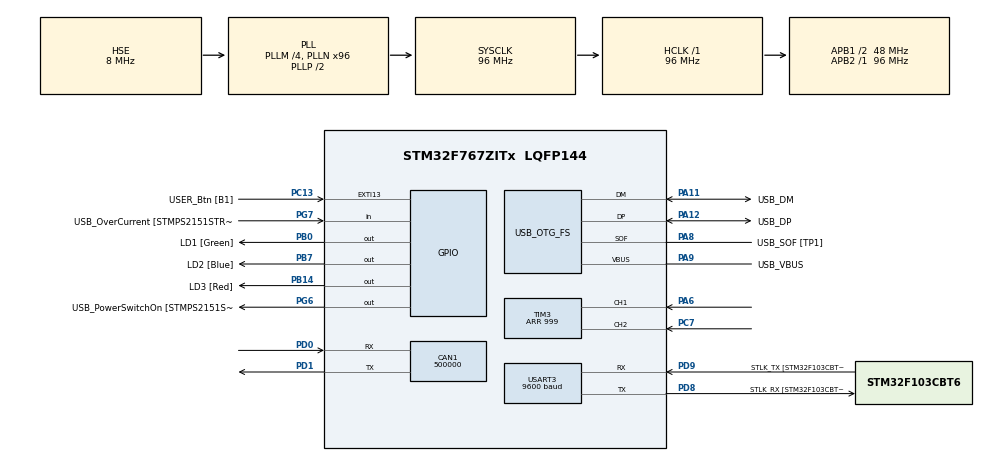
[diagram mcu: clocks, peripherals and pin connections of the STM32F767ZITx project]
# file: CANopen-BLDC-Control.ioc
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CAN1.BS1=CAN_BS1_2TQ
CAN1.BS2=CAN_BS2_3TQ
CAN1.CalculateBaudRate=500000
CAN1.CalculateTimeBit=2000
CAN1.CalculateTimeQuantum=333.3333333333333
CAN1.SJW=CAN_SJW_2TQ
Mcu.Family=STM32F7
Mcu.Name=STM32F767ZITx
Mcu.Package=LQFP144
NVIC.CAN1_RX0_IRQn=true\:0\:0\:false\:false\:true\:true\:true\:true
NVIC.EXTI15_10_IRQn=true\:0\:0\:false\:false\:true\:true\:true\:true
NVIC.PriorityGroup=NVIC_PRIORITYGROUP_4
NVIC.TIM1_TRG_COM_TIM11_IRQn=true\:0\:0\:false\:false\:true\:true\:true\:true
NVIC.TIM1_UP_TIM10_IRQn=true\:0\:0\:false\:false\:true\:true\:true\:true
NVIC.TIM3_IRQn=true\:0\:0\:false\:false\:true\:true\:true\:true
NVIC.TIM6_DAC_IRQn=true\:0\:0\:false\:false\:true\:true\:true\:true
NVIC.TIM7_IRQn=true\:0\:0\:false\:false\:true\:true\:true\:true
NVIC.TIM8_TRG_COM_TIM14_IRQn=true\:0\:0\:false\:false\:true\:true\:true\:true
NVIC.USART3_IRQn=true\:0\:0\:false\:false\:true\:true\:true\:true
PA1.GPIO_Label=RMII_REF_CLK [LAN8742A-CZ-TR_REFCLK0]
PA1.Signal=ETH_REF_CLK
PA10.GPIO_Label=USB_ID
PA10.Signal=USB_OTG_FS_ID
PA11.GPIO_Label=USB_DM
PA11.Mode=Device_Only
PA11.Signal=USB_OTG_FS_DM
PA12.GPIO_Label=USB_DP
PA12.Mode=Device_Only
PA12.Signal=USB_OTG_FS_DP
PA13.GPIO_Label=TMS
PA13.Mode=Serial_Wire
PA13.Signal=SYS_JTMS-SWDIO
PA14.GPIO_Label=TCK
PA14.Mode=Serial_Wire
PA14.Signal=SYS_JTCK-SWCLK
PA2.GPIO_Label=RMII_MDIO [LAN8742A-CZ-TR_MDIO]
PA2.Signal=ETH_MDIO
PA6.Signal=S_TIM3_CH1
PA7.GPIO_Label=RMII_CRS_DV [LAN8742A-CZ-TR_CRS_DV]
PA7.Signal=ETH_CRS_DV
PA8.GPIO_Label=USB_SOF [TP1]
PA8.Mode=Activate_SOF_FS
PA8.Signal=USB_OTG_FS_SOF
PA9.GPIO_Label=USB_VBUS
PA9.Mode=Activate_VBUS
PA9.Signal=USB_OTG_FS_VBUS
PB0.GPIO_Label=LD1 [Green]
PB0.Signal=GPIO_Output
PB13.GPIO_Label=RMII_TXD1 [LAN8742A-CZ-TR_TXD1]
PB13.Signal=ETH_TXD1
PB14.GPIO_Label=LD3 [Red]
PB14.Signal=GPIO_Output
PB3.GPIO_Label=SWO
PB3.Signal=SYS_JTDO-SWO
PB7.GPIO_Label=LD2 [Blue]
PB7.Signal=GPIO_Output
PC1.GPIO_Label=RMII_MDC [LAN8742A-CZ-TR_MDC]
PC1.Signal=ETH_MDC
PC13.GPIO_Label=USER_Btn [B1]
PC13.Signal=GPXTI13
PC14/OSC32_IN.Mode=LSE-External-Oscillator
PC14/OSC32_IN.Signal=RCC_OSC32_IN
PC15/OSC32_OUT.Mode=LSE-External-Oscillator
PC15/OSC32_OUT.Signal=RCC_OSC32_OUT
PC4.GPIO_Label=RMII_RXD0 [LAN8742A-CZ-TR_RXD0]
PC4.Signal=ETH_RXD0
PC5.GPIO_Label=RMII_RXD1 [LAN8742A-CZ-TR_RXD1]
PC5.Signal=ETH_RXD1
PC7.Signal=S_TIM3_CH2
PD0.Mode=CAN_Activate
PD0.Signal=CAN1_RX
PD1.Mode=CAN_Activate
PD1.Signal=CAN1_TX
PD8.GPIO_Label=STLK_RX [STM32F103CBT6_PA3]
PD8.Mode=Asynchronous
PD8.Signal=USART3_TX
PD9.GPIO_Label=STLK_TX [STM32F103CBT6_PA2]
PD9.Mode=Asynchronous
PD9.Signal=USART3_RX
PG11.GPIO_Label=RMII_TX_EN [LAN8742A-CZ-TR_TXEN]
PG11.Signal=ETH_TX_EN
PG13.GPIO_Label=RMII_TXD0 [LAN8742A-CZ-TR_TXD0]
PG13.Signal=ETH_TXD0
PG6.GPIO_Label=USB_PowerSwitchOn [STMPS2151STR_EN]
PG6.Signal=GPIO_Output
PG7.GPIO_Label=USB_OverCurrent [STMPS2151STR_FAULT]
PG7.Signal=GPIO_Input
PH0/OSC_IN.GPIO_Label=MCO [STM32F103CBT6_PA8]
PH0/OSC_IN.Mode=HSE-External-Clock-Source
PH0/OSC_IN.Signal=RCC_OSC_IN
PH1/OSC_OUT.Mode=HSE-External-Clock-Source
PH1/OSC_OUT.Signal=RCC_OSC_OUT
ProjectManager.HeapSize=0x200
ProjectManager.StackSize=0x400
ProjectManager.TargetToolchain=STM32CubeIDE
RCC.48MHZClocksFreq_Value=24000000
RCC.AHBFreq_Value=96000000
RCC.APB1CLKDivider=RCC_HCLK_DIV2
RCC.APB1Freq_Value=48000000
RCC.APB1TimFreq_Value=96000000
RCC.APB2Freq_Value=96000000
RCC.APB2TimFreq_Value=96000000
RCC.CortexFreq_Value=96000000
RCC.HCLKFreq_Value=96000000
RCC.HSE_VALUE=8000000
RCC.HSI_VALUE=16000000
RCC.PLLM=4
RCC.PLLMUL=RCC_PLL_MUL9
RCC.PLLN=96
RCC.PLLQ=4
RCC.PRESCALERUSB=RCC_USBCLKSOURCE_PLL_DIV1_5
RCC.SYSCLKFreq_VALUE=96000000
RCC.SYSCLKSource=RCC_SYSCLKSOURCE_PLLCLK
RCC.SYSCLKSourceVirtual=RCC_SYSCLKSOURCE_PLLCLK
RCC.USBFreq_Value=48000000
RCC.VCOOutputFreq_Value=192000000
SH.S_TIM3_CH1.0=TIM3_CH1,Encoder_Interface
SH.S_TIM3_CH2.0=TIM3_CH2,Encoder_Interface
TIM10.Period=5000-1
TIM10.Prescaler=9600-1
TIM11.AutoReloadPreload=TIM_AUTORELOAD_PRELOAD_ENABLE
TIM11.Period=2000-1
TIM11.Prescaler=9600-1
TIM14.AutoReloadPreload=TIM_AUTORELOAD_PRELOAD_ENABLE
TIM14.Period=4999
TIM14.Prescaler=9599
TIM3.EncoderMode=TIM_ENCODERMODE_TI1
TIM3.Period=999
TIM6.AutoReloadPreload=TIM_AUTORELOAD_PRELOAD_ENABLE
TIM6.Period=4999
TIM6.Prescaler=9599
TIM7.AutoReloadPreload=TIM_AUTORELOAD_PRELOAD_ENABLE
TIM7.Period=5000-1
TIM7.Prescaler=9600-1
USART3.BaudRate=9600
USART3.VirtualMode-Asynchronous=VM_ASYNC
USB_OTG_FS.VirtualMode=Device_Only
VP_TIM10_VS_ClockSourceINT.Mode=Enable_Timer
VP_TIM11_VS_ClockSourceINT.Mode=Enable_Timer
VP_TIM14_VS_ClockSourceINT.Mode=Enable_Timer
VP_TIM6_VS_ClockSourceINT.Mode=Enable_Timer
VP_TIM7_VS_ClockSourceINT.Mode=Enable_Timer
board=NUCLEO-F767ZI

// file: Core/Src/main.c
/* USER CODE BEGIN Header */
/**
 ******************************************************************************
 * @file           : main.c
 * @brief          : Main program body
 ******************************************************************************
 * @attention
 *
 * <h2><center>&copy; Copyright (c) 2022 STMicroelectronics.
 * All rights reserved.</center></h2>
 *
 * This software component is licensed by ST under BSD 3-Clause license,
 * the "License"; You may not use this file except in compliance with the
 * License. You may obtain a copy of the License at:
 *                        opensource.org/licenses/BSD-3-Clause
 *
 ******************************************************************************
 */
/* USER CODE END Header */
#include "main.h"
#include "can.h"
#include "tim.h"
#include "usart.h"
#include "usb_otg.h"
#include "gpio.h"

/* USER CODE BEGIN Includes */
#include "stdio.h"
#include "string.h"
#include "stdlib.h"

/* USER CODE END Includes */

/* USER CODE BEGIN PV */

//UART VARIABLES
const uint8_t sInitCommand[] = "INIT";
uint8_t sUserMessage[4];
const uint8_t sErrorMessage[] = "UART ERROR\r\n";
int length;
uint8_t data_msg[16];

//INCOMING DATA
const uint8_t sSerialStart[] = "STSE";
const uint8_t sGeneralStop[] = "HALT";
const uint8_t sReset[] = "RSET";
const uint8_t sContinue[] = "CONT";

//OUTGOING DATA
const uint8_t sInitState[] = "inig \r\n";
const uint8_t sWorkState[] = "work \r\n";
const uint8_t sReadyState[] = "redy \r\n";
const uint8_t sStopState[] = "stop \r\n";
int iLengthOut = strlen(sInitState);

//MODE SELECTION
const uint8_t sSingle_mode[] = "SNGL";
const uint8_t sSerial_mode[] = "SERL";

//LEG SELECTION
const uint8_t sRight[] = "RGHT";
const uint8_t sLeft[] = "LEFT";

//SPEED SELECTION
const uint8_t sFast[] = "FAST";
const uint8_t sSlow[] = "SLOW";

//MINMAX VALUES
const uint32_t iMax_angle = 90;
const uint32_t iMin_angle = 0;

//STATE VALUES
volatile uint8_t iFlag = 0;
volatile uint8_t iMode = 100; // default:100, 0 - SINGLE MOTION MODE, 1 - SERIAL MOTION MODE
volatile uint8_t iSelected_leg = 100; // default:100, 0 - LEFT LEG, 1 - RIGHT LEG

//CAN VARIABLES
CAN_TxHeaderTypeDef TxHeader;
uint8_t TxData[8];
uint32_t TxMailbox;

CAN_RxHeaderTypeDef RxHeader;
uint8_t RxData[8];

CAN_FilterTypeDef CANFilter;

//STATE MACHINE VARIABLES
uint8_t iMachineStatus = 100;
uint8_t iHomingStatus = 100;
uint8_t iSingleMachineStatus = 100;
uint8_t iSerialMachineStatus = 100;

//ENCODER VARIABLES
uint16_t iEncCountReal=0;
uint16_t iEncCount=0;
const uint16_t iEncCountsNumber = 1000;
float fEncAngle=0;
float fEncDegPerCount = 0.36; //counts per rotation = 40 -> 360 degrees / 40 counts = 9 deg/count
float fEncAngleTemp = 0;

//MOVE ABSOLUTE VARIABLES
uint32_t iPosition;
uint32_t iVelocity;

//SERIAL MODE VARIABLES
uint8_t iSerialCounter = 100;
uint32_t iSerialRange = 100;
uint8_t iSerialReps = 100;

/* USER CODE END PV */

void SystemClock_Config(void);
/* USER CODE BEGIN PFP */

//ERROR SIGNALIZATION
void fnLEDsErrorState(){
	HAL_GPIO_WritePin(LD1_GPIO_Port, LD1_Pin, GPIO_PIN_SET);
	HAL_GPIO_WritePin(LD2_GPIO_Port, LD2_Pin, GPIO_PIN_SET);
	HAL_GPIO_WritePin(LD3_GPIO_Port, LD3_Pin, GPIO_PIN_SET);
}

//INIT FUNCTION
void fnInit(){

	switch(iMachineStatus){

	case 0: //RESET PDO
		TxHeader.StdId = 0x000;
		TxHeader.DLC = 2;
		TxData[0] = 0x82;
		TxData[1] = 0x0A;

		if(HAL_CAN_AddTxMessage(&hcan1, &TxHeader, TxData, &TxMailbox) != HAL_OK){
			fnLEDsErrorState();
			Error_Handler();
		}
		else{
			iMachineStatus = 5;
			//SEND INFO THAT ENGINE IS INITIALIZING
			HAL_UART_Transmit(&huart3, sInitState, iLengthOut, 100);
		}
		break;

	case 5: //SET PDO
		TxHeader.StdId = 0x000;
		TxHeader.DLC = 2;
		TxData[0] = 0x01;
		TxData[1] = 0x0A;

		if(HAL_CAN_AddTxMessage(&hcan1, &TxHeader, TxData, &TxMailbox) != HAL_OK){
			fnLEDsErrorState();
			Error_Handler();
		}
		else{
			iMachineStatus = 10;
		}
		break;

	case 10: //SHUTDOWN
		TxHeader.StdId = 0x60A;
		TxHeader.DLC = 8;
		TxData[0] = 0x22;
		TxData[1] = 0x40;
		TxData[2] = 0x60;
		TxData[3] = 0x00;
		TxData[4] = 0x06;
		TxData[5] = 0x00;
		TxData[6] = 0x00;
		TxData[7] = 0x00;

		//RESET ALL VARIABLES TO INITIAL CONDITIONS
		iMode = 100;
		iSelected_leg = 100;

		iSerialMachineStatus = 100;
		iSerialRange = 0;
		iSerialReps = 0;

		iSingleMachineStatus = 100;
		iPosition = 0;

		if(HAL_CAN_AddTxMessage(&hcan1, &TxHeader, TxData, &TxMailbox) != HAL_OK){
			fnLEDsErrorState();
			Error_Handler();
		}
		else{
			iMachineStatus = 20;
		}
		break;

	case 20://SWITCH ON
		TxHeader.StdId = 0x60A;
		TxHeader.DLC = 8;
		TxData[0] = 0x22;
		TxData[1] = 0x40;
		TxData[2] = 0x60;
		TxData[3] = 0x00;
		TxData[4] = 0x07;
		TxData[5] = 0x00;
		TxData[6] = 0x00;
		TxData[7] = 0x00;

		if(HAL_CAN_AddTxMessage(&hcan1, &TxHeader, TxData, &TxMailbox) != HAL_OK){
			fnLEDsErrorState();
			Error_Handler();
		}
		else{
			iMachineStatus = 25;
		}
		break;

	case 25://ENABLE OPERATION
		TxHeader.StdId = 0x60A;
		TxHeader.DLC = 8;
		TxData[0] = 0x22;
		TxData[1] = 0x40;
		TxData[2] = 0x60;
		TxData[3] = 0x00;
		TxData[4] = 0x0F;
		TxData[5] = 0x00;
		TxData[6] = 0x00;
		TxData[7] = 0x00;

		if(HAL_CAN_AddTxMessage(&hcan1, &TxHeader, TxData, &TxMailbox) != HAL_OK){
			fnLEDsErrorState();
			Error_Handler();
		}
		else{
			iMachineStatus = 30;
		}
		break;

	case 30://POSITION MODE
		TxHeader.StdId = 0x60A;
		TxHeader.DLC = 8;
		TxData[0] = 0x22;
		TxData[1] = 0x60;
		TxData[2] = 0x60;
		TxData[3] = 0x00;
		TxData[4] = 0x01;
		TxData[5] = 0x00;
		TxData[6] = 0x00;
		TxData[7] = 0x00;

		if(HAL_CAN_AddTxMessage(&hcan1, &TxHeader, TxData, &TxMailbox) != HAL_OK){
			fnLEDsErrorState();
			Error_Handler();
		}
		else{
			iMachineStatus = 40;
		}
		break;

	case 40:// POSITION 0
		TxHeader.StdId = 0x60A;
		TxHeader.DLC = 8;

		TxData[0] = 0x22;
		TxData[1] = 0x7A;
		TxData[2] = 0x60;
		TxData[3] = 0x00;
		TxData[4] = 0x00;
		TxData[5] = 0x00;
		TxData[6] = 0x00;
		TxData[7] = 0x00;

		if(HAL_CAN_AddTxMessage(&hcan1, &TxHeader, TxData, &TxMailbox) != HAL_OK){
			fnLEDsErrorState();
			Error_Handler();
		}
		else{
			iMachineStatus = 50;
		}
		break;

	case 50://START SUPPLY
		TxHeader.StdId = 0x60A;
		TxHeader.DLC = 8;
		TxData[0] = 0x22;
		TxData[1] = 0x40;
		TxData[2] = 0x60;
		TxData[3] = 0x00;
		TxData[4] = 0x1F;
		TxData[5] = 0x00;
		TxData[6] = 0x00;
		TxData[7] = 0x00;

		if(HAL_CAN_AddTxMessage(&hcan1, &TxHeader, TxData, &TxMailbox) != HAL_OK){
			fnLEDsErrorState();
			Error_Handler();
		}
		else{
			iMachineStatus = 55;
		}
		break;

	case 55://SET POINT ACK CHECK
		TxHeader.StdId = 0x60A;
		TxHeader.DLC = 8;
		TxData[0] = 0x40;
		TxData[1] = 0x41;
		TxData[2] = 0x60;
		TxData[3] = 0x00;
		TxData[4] = 0x00;
		TxData[5] = 0x00;
		TxData[6] = 0x00;
		TxData[7] = 0x00;

		if(HAL_CAN_AddTxMessage(&hcan1, &TxHeader, TxData, &TxMailbox) != HAL_OK){
			fnLEDsErrorState();
			Error_Handler();
		}
		else if (RxData[5] & 0b10000) {
			iMachineStatus = 60;
		}
		break;

	case 60://STOP SUPPLY
		TxHeader.StdId = 0x60A;
		TxHeader.DLC = 8;
		TxData[0] = 0x22;
		TxData[1] = 0x40;
		TxData[2] = 0x60;
		TxData[3] = 0x00;
		TxData[4] = 0x0F;
		TxData[5] = 0x00;
		TxData[6] = 0x00;
		TxData[7] = 0x00;

		if(HAL_CAN_AddTxMessage(&hcan1, &TxHeader, TxData, &TxMailbox) != HAL_OK){
			fnLEDsErrorState();
			Error_Handler();
		}
		else{
			iMachineStatus = 70;
		}
		break;

	case 70://TARGET REACHED CHECK
		TxHeader.StdId = 0x60A;
		TxHeader.DLC = 8;
		TxData[0] = 0x40;
		TxData[1] = 0x41;
		TxData[2] = 0x60;
		TxData[3] = 0x00;
		TxData[4] = 0x00;
		TxData[5] = 0x00;
		TxData[6] = 0x00;
		TxData[7] = 0x00;

		if(HAL_CAN_AddTxMessage(&hcan1, &TxHeader, TxData, &TxMailbox) != HAL_OK){
			fnLEDsErrorState();
			Error_Handler();
		}
		else if (RxData[5] & 0b00100) {
			iMachineStatus = 80;
			//SEND INFO THAT ENGINE IS READY
			HAL_UART_Transmit(&huart3, sReadyState, iLengthOut, 100);
		}
		break;

	case 80://READ STATUS CHECK
		if (RxData[4] == 39) {
			iMachineStatus = 1;
			iHomingStatus = 1;

			// ENCODER TIMER START
			HAL_TIM_Encoder_Start(&htim3,TIM_CHANNEL_ALL);
			fnEncCalibration();

			//SEND ENCODER VALUE AFTER INIT
			length = sprintf(data_msg, "e%.3f \r\n", fEncAngle);
			HAL_UART_Transmit(&huart3, data_msg, length, 0xffff);

		}
		else {
			fnLEDsErrorState();
			Error_Handler();
		}

		break;
	}
}

void fnReset(){
	switch(iMachineStatus){

	case 10: //SHUTDOWN
		TxHeader.StdId = 0x60A;
		TxHeader.DLC = 8;
		TxData[0] = 0x22;
		TxData[1] = 0x40;
		TxData[2] = 0x60;
		TxData[3] = 0x00;
		TxData[4] = 0x06;
		TxData[5] = 0x00;
		TxData[6] = 0x00;
		TxData[7] = 0x00;

		if(HAL_CAN_AddTxMessage(&hcan1, &TxHeader, TxData, &TxMailbox) != HAL_OK){
			fnLEDsErrorState();
			Error_Handler();
		}
		else{
			iMachineStatus = 20;
		}
		break;

	case 20://SWITCH ON
		TxHeader.StdId = 0x60A;
		TxHeader.DLC = 8;
		TxData[0] = 0x22;
		TxData[1] = 0x40;
		TxData[2] = 0x60;
		TxData[3] = 0x00;
		TxData[4] = 0x07;
		TxData[5] = 0x00;
		TxData[6] = 0x00;
		TxData[7] = 0x00;

		if(HAL_CAN_AddTxMessage(&hcan1, &TxHeader, TxData, &TxMailbox) != HAL_OK){
			fnLEDsErrorState();
			Error_Handler();
		}
		else{
			iMachineStatus = 25;
		}
		break;

	case 25://ENABLE OPERATION
		TxHeader.StdId = 0x60A;
		TxHeader.DLC = 8;
		TxData[0] = 0x22;
		TxData[1] = 0x40;
		TxData[2] = 0x60;
		TxData[3] = 0x00;
		TxData[4] = 0x0F;
		TxData[5] = 0x00;
		TxData[6] = 0x00;
		TxData[7] = 0x00;

		if(HAL_CAN_AddTxMessage(&hcan1, &TxHeader, TxData, &TxMailbox) != HAL_OK){
			fnLEDsErrorState();
			Error_Handler();
		}
		else{
			iMachineStatus = 70;
		}
		break;

	case 70://MOTOR STATUS CHECK
		TxHeader.StdId = 0x60A;
		TxHeader.DLC = 8;
		TxData[0] = 0x40;
		TxData[1] = 0x41;
		TxData[2] = 0x60;
		TxData[3] = 0x00;
		TxData[4] = 0x00;
		TxData[5] = 0x00;
		TxData[6] = 0x00;
		TxData[7] = 0x00;

		if(HAL_CAN_AddTxMessage(&hcan1, &TxHeader, TxData, &TxMailbox) != HAL_OK){
			fnLEDsErrorState();
			Error_Handler();
		}
		else{
			iMachineStatus = 80;
		}
		break;

	case 80://READ STATUS CHECK
		if (RxData[4] == 39) {
			iMachineStatus = 1;

			if (iMode == 0 && iSingleMachineStatus != 100) {
				iSingleMachineStatus = 10;
			}
			else if (iMode == 1 && iSerialMachineStatus != 100) {
				if (iSerialMachineStatus == 40) {
					iSerialCounter--;
				}
				iSerialMachineStatus = 10;
			}

			HAL_GPIO_WritePin(LD3_GPIO_Port, LD3_Pin, GPIO_PIN_RESET);
			HAL_TIM_Base_Stop_IT(&htim14);
		}
		else {
			fnLEDsErrorState();
			Error_Handler();
		}

		break;
	}
}

////CALCULATING ENCODER'S COUNTS TO ANGLE
//float fnEncCounts2Angle(uint16_t iCounts)
//{
//	fEncAngleTemp = iCounts*fEncDegPerCount;
//
//	return fEncAngleTemp;
//}

//READING DATA FROM ENCODER & CALCULATING COUNTS TO ANGLE
void fnEncReadCount()
{
	iEncCountReal = __HAL_TIM_GET_COUNTER(&htim3);
	if(iEncCountReal > iEncCountsNumber / 2)
	{
		iEncCount = iEncCountsNumber - iEncCountReal;
	}
	else
	{
		iEncCount = iEncCountReal;
	}

	//	fEncAngle = fnEncCounts2Angle(iEncCount)/2;

	fEncAngle = 90 - iEncCount*fEncDegPerCount/2;
}

//ENCODER CALIBRATION - BASE
void fnEncCalibration()
{
	TIM3->CNT = 0;
	fnEncReadCount();
}

//FRAME SET POSITION SEND
void fnMoveAbsolute(uint32_t iNumber){

	iNumber = 90 - iNumber;

	//VAR CHECKING IF LEG IS SELECTED
	uint8_t iMoveEnabled = 100;
	if (iNumber > 90) {
		iNumber = 90;
	}
	else if (iNumber < 0) {
		iNumber = 0;
	}

	//ESTABLISHING MOTION DIRECTORY BASED ON SEL LEG
	if(iSelected_leg == 0){
		iNumber = iNumber * 1000;
		iMoveEnabled = 1;
	}

	else if(iSelected_leg == 1){
		iNumber = -iNumber * 1000;
		iMoveEnabled = 1;
	}

	else
		iMoveEnabled = 0;

	if(iMoveEnabled == 1){
		TxHeader.StdId = 0x60A;
		TxHeader.DLC = 8;
		TxData[0] = 0x22;
		TxData[1] = 0x7A;
		TxData[2] = 0x60;
		TxData[3] = 0x00;
		TxData[4] = (uint8_t) iNumber;
		TxData[5] = (uint8_t)(iNumber >> 8);
		TxData[6] = (uint8_t)(iNumber >> 16);
		TxData[7] = (uint8_t)(iNumber >> 24);

		if(HAL_CAN_AddTxMessage(&hcan1, &TxHeader, TxData, &TxMailbox) != HAL_OK){
			fnLEDsErrorState();
			Error_Handler();
		}

	}
}

//FRAME SET VELOCITY
void fnSetVelocity(uint32_t iNumber){

	TxHeader.StdId = 0x60A;
	TxHeader.DLC = 8;
	TxData[0] = 0x22;
	TxData[1] = 0x81;
	TxData[2] = 0x60;
	TxData[3] = 0x00;
	TxData[4] = (uint8_t) iNumber;
	TxData[5] = (uint8_t)(iNumber >> 8);
	TxData[6] = (uint8_t)(iNumber >> 16);
	TxData[7] = (uint8_t)(iNumber >> 24);

	if(HAL_CAN_AddTxMessage(&hcan1, &TxHeader, TxData, &TxMailbox) != HAL_OK){
		fnLEDsErrorState();
		Error_Handler();
	}
}

void fnSingleMotionAction(){
	//SEND INFO THAT ENGINE IS WORKING
	switch (iSingleMachineStatus){
	case 10:
		//SET POSITION
		fnMoveAbsolute(iPosition);
		iSingleMachineStatus = 20;
		break;

	case 20:
		//START SUPPLY
		TxHeader.StdId = 0x60A;
		TxHeader.DLC = 8;
		TxData[0] = 0x22;
		TxData[1] = 0x40;
		TxData[2] = 0x60;
		TxData[3] = 0x00;
		TxData[4] = 0x1F;
		TxData[5] = 0x00;
		TxData[6] = 0x00;
		TxData[7] = 0x00;

		if(HAL_CAN_AddTxMessage(&hcan1, &TxHeader, TxData, &TxMailbox) != HAL_OK){
			fnLEDsErrorState();
			Error_Handler();
		}
		else{
			iSingleMachineStatus = 25;
			HAL_UART_Transmit(&huart3, sWorkState, iLengthOut, 100);
		}
		break;

	case 25:
		//SET POINT ACK CHECK
		TxHeader.StdId = 0x60A;
		TxHeader.DLC = 8;
		TxData[0] = 0x40;
		TxData[1] = 0x41;
		TxData[2] = 0x60;
		TxData[3] = 0x00;
		TxData[4] = 0x00;
		TxData[5] = 0x00;
		TxData[6] = 0x00;
		TxData[7] = 0x00;

		if(HAL_CAN_AddTxMessage(&hcan1, &TxHeader, TxData, &TxMailbox) != HAL_OK){
			fnLEDsErrorState();
			Error_Handler();
		}
		else if (RxData[5] & 0b10000) {
			iSingleMachineStatus = 30;
		}
		break;

	case 30:
		//STOP SUPPLY
		TxHeader.StdId = 0x60A;
		TxHeader.DLC = 8;
		TxData[0] = 0x22;
		TxData[1] = 0x40;
		TxData[2] = 0x60;
		TxData[3] = 0x00;
		TxData[4] = 0x0F;
		TxData[5] = 0x00;
		TxData[6] = 0x00;
		TxData[7] = 0x00;

		if(HAL_CAN_AddTxMessage(&hcan1, &TxHeader, TxData, &TxMailbox) != HAL_OK){
			fnLEDsErrorState();
			Error_Handler();
		}
		else{
			iSingleMachineStatus = 35;
		}
		break;

	case 35:
		//TARGET REACHED CHECK
		TxHeader.StdId = 0x60A;
		TxHeader.DLC = 8;
		TxData[0] = 0x40;
		TxData[1] = 0x41;
		TxData[2] = 0x60;
		TxData[3] = 0x00;
		TxData[4] = 0x00;
		TxData[5] = 0x00;
		TxData[6] = 0x00;
		TxData[7] = 0x00;

		if(HAL_CAN_AddTxMessage(&hcan1, &TxHeader, TxData, &TxMailbox) != HAL_OK){
			fnLEDsErrorState();
			Error_Handler();
		}
		else if (RxData[5] & 0b00100) {
			iSingleMachineStatus = 100;
			HAL_TIM_Base_Stop_IT(&htim7);
			//SEND INFO THAT ENGINE IS READY
			HAL_UART_Transmit(&huart3, sReadyState, iLengthOut, 100);
		}
		break;
	}
}

void fnSerialMotionAction(){

	switch (iSerialMachineStatus){
	case 10:
		//SET POSITION
		fnMoveAbsolute(iPosition);
		iSerialMachineStatus = 20;
		break;

	case 20:
		//START SUPPLY
		TxHeader.StdId = 0x60A;
		TxHeader.DLC = 8;
		TxData[0] = 0x22;
		TxData[1] = 0x40;
		TxData[2] = 0x60;
		TxData[3] = 0x00;
		TxData[4] = 0x1F;
		TxData[5] = 0x00;
		TxData[6] = 0x00;
		TxData[7] = 0x00;

		if(HAL_CAN_AddTxMessage(&hcan1, &TxHeader, TxData, &TxMailbox) != HAL_OK){
			fnLEDsErrorState();
			Error_Handler();
		}
		else{
			iSerialMachineStatus = 25;
			//SEND INFO THAT ENGINE IS WORKING
			HAL_UART_Transmit(&huart3, sWorkState, iLengthOut, 100);
		}
		break;

	case 25:
		//SET POINT ACK CHECK
		TxHeader.StdId = 0x60A;
		TxHeader.DLC = 8;
		TxData[0] = 0x40;
		TxData[1] = 0x41;
		TxData[2] = 0x60;
		TxData[3] = 0x00;
		TxData[4] = 0x00;
		TxData[5] = 0x00;
		TxData[6] = 0x00;
		TxData[7] = 0x00;

		if(HAL_CAN_AddTxMessage(&hcan1, &TxHeader, TxData, &TxMailbox) != HAL_OK){
			fnLEDsErrorState();
			Error_Handler();
		}
		else if (RxData[5] & 0b10000) {
			iSerialMachineStatus = 30;
		}
		break;

	case 30:
		//STOP SUPPLY
		TxHeader.StdId = 0x60A;
		TxHeader.DLC = 8;
		TxData[0] = 0x22;
		TxData[1] = 0x40;
		TxData[2] = 0x60;
		TxData[3] = 0x00;
		TxData[4] = 0x0F;
		TxData[5] = 0x00;
		TxData[6] = 0x00;
		TxData[7] = 0x00;

		if(HAL_CAN_AddTxMessage(&hcan1, &TxHeader, TxData, &TxMailbox) != HAL_OK){
			fnLEDsErrorState();
			Error_Handler();
		}
		else{
			iSerialMachineStatus = 35;
		}
		break;

	case 35:
		//TARGET REACHED CHECK
		TxHeader.StdId = 0x60A;
		TxHeader.DLC = 8;
		TxData[0] = 0x40;
		TxData[1] = 0x41;
		TxData[2] = 0x60;
		TxData[3] = 0x00;
		TxData[4] = 0x00;
		TxData[5] = 0x00;
		TxData[6] = 0x00;
		TxData[7] = 0x00;

		if(HAL_CAN_AddTxMessage(&hcan1, &TxHeader, TxData, &TxMailbox) != HAL_OK){
			fnLEDsErrorState();
			Error_Handler();
		}
		else if (RxData[5] & 0b00100) {
			iSerialCounter++;
			iSerialMachineStatus = 40;
		}
		break;

	case 40:
		//REPETITION COUNTER CHECK
		if (iSerialCounter / 2 == iSerialReps) {
			iSerialMachineStatus = 100;
			iSerialRange = 0;
			iSerialReps = 0;
			HAL_TIM_Base_Stop(&htim10);
			//SEND INFO THAT ENGINE IS READY
			HAL_UART_Transmit(&huart3, sReadyState, iLengthOut, 100);
		}
		else if (iSerialCounter % 2 == 0) {
			iPosition = iSerialRange;
			iSerialMachineStatus = 10;
		}
		else {
			iPosition = 90;
			iSerialMachineStatus = 10;
		}
		break;
	}
}

/* USER CODE END PFP */

/* USER CODE BEGIN 0 */

void HAL_TIM_PeriodElapsedCallback(TIM_HandleTypeDef *htim){
	if(htim -> Instance == TIM6){
		if (iHomingStatus != 1) {
			fnInit();
			HAL_GPIO_TogglePin(LD1_GPIO_Port, LD1_Pin);
		}
		else {
			HAL_GPIO_WritePin(LD1_GPIO_Port, LD1_Pin, GPIO_PIN_SET);
			fnEncReadCount();
		}
	}
	else if(htim -> Instance == TIM7){
		fnSingleMotionAction();
		HAL_GPIO_TogglePin(LD2_GPIO_Port, LD2_Pin);
	}
	else if(htim -> Instance == TIM10){
		fnSerialMotionAction();
		HAL_GPIO_TogglePin(LD2_GPIO_Port, LD2_Pin);
	}
	else if(htim -> Instance == TIM11){
		//SENDING ACTUAL ENCODER VALUE
		if (iMode == 0 && iSingleMachineStatus != 100) {
			length = sprintf(data_msg, "e%.3f \r\n", fEncAngle);
			HAL_UART_Transmit(&huart3, data_msg, length, 0xffff);
		}
		else if (iMode == 1 && iSerialMachineStatus != 100) {
			length = sprintf(data_msg, "e%.3f \r\n", fEncAngle);
			HAL_UART_Transmit(&huart3, data_msg, length, 0xffff);
		}
	}
	else if(htim -> Instance == TIM14){
		fnReset();
	}

}

void HAL_GPIO_EXTI_Callback(uint16_t GPIO_Pin){
	if(GPIO_Pin == USER_Btn_Pin){

		/*
		TxHeader.StdId = 0x60A;
		TxHeader.DLC = 8;
		TxData[0] = 0x40;
		TxData[1] = 0x6C;
		TxData[2] = 0x60;
		TxData[3] = 0x00;
		TxData[4] = 0x00;
		TxData[5] = 0x00;
		TxData[6] = 0x00;
		TxData[7] = 0x00;

		if(HAL_CAN_AddTxMessage(&hcan1, &TxHeader, TxData, &TxMailbox) != HAL_OK){
			Error_Handler();
		}
		else if(RxData[1] == 0x6C){
			iTempRxData0 = RxData[4];
			iTempRxData1 = RxData[5];
			iTempRxData2 = RxData[6];
			iTempRxData3 = RxData[7];
		}
		 */

		fnSetVelocity(iVelocity);
	}
}

/* USER CODE END 0 */

int main(void)
{

	/* MCU Configuration--------------------------------------------------------*/

	/* Reset of all peripherals, Initializes the Flash interface and the Systick. */
	HAL_Init();

	/* Configure the system clock */
	SystemClock_Config();

	/* Initialize all configured peripherals */
	MX_GPIO_Init();
	MX_USART3_UART_Init();
	MX_USB_OTG_FS_PCD_Init();
	MX_CAN1_Init();
	MX_TIM6_Init();
	MX_TIM3_Init();
	MX_TIM7_Init();
	MX_TIM10_Init();
	MX_TIM11_Init();
	MX_TIM14_Init();
	/* USER CODE BEGIN 2 */
	/* Initialize all configured peripherals */
	MX_GPIO_Init();
	MX_USART3_UART_Init();
	MX_USB_OTG_FS_PCD_Init();
	MX_CAN1_Init();
	MX_TIM6_Init();
	MX_TIM3_Init();
	MX_TIM7_Init();
	MX_TIM10_Init();
	MX_TIM14_Init();
	/* USER CODE BEGIN 2 */

	// UART START
	HAL_UART_Receive_IT(&huart3, sUserMessage, 4);

	// CAN START
	HAL_CAN_Start(&hcan1);

	// CAN CONFIG
	// TxHeader param config
	TxHeader.StdId = 0x000;
	TxHeader.ExtId = 0;
	TxHeader.IDE = CAN_ID_STD;
	TxHeader.RTR = CAN_RTR_DATA;
	TxHeader.DLC = 2;
	TxHeader.TransmitGlobalTime = DISABLE;

	// CANFilter param config
	CANFilter.FilterActivation = CAN_FILTER_ENABLE;
	CANFilter.FilterBank = 18;
	CANFilter.FilterFIFOAssignment = CAN_FILTER_FIFO0;
	CANFilter.FilterIdHigh = 0x58A<<5;
	CANFilter.FilterIdLow = 0x0000;
	CANFilter.FilterMaskIdHigh = 0x58A<<5;
	CANFilter.FilterMaskIdLow = 0x0000;
	CANFilter.FilterMode = CAN_FILTERMODE_IDMASK;
	CANFilter.FilterScale = CAN_FILTERSCALE_32BIT;
	CANFilter.SlaveStartFilterBank = 20;

	HAL_CAN_ConfigFilter(&hcan1, &CANFilter);
	HAL_CAN_ActivateNotification(&hcan1, CAN_IT_RX_FIFO0_MSG_PENDING);

	/* USER CODE END 2 */

	/* Infinite loop */
	while (1)
	{

	}
}

void SystemClock_Config(void)
{
	RCC_OscInitTypeDef RCC_OscInitStruct = {0};
	RCC_ClkInitTypeDef RCC_ClkInitStruct = {0};
	RCC_PeriphCLKInitTypeDef PeriphClkInitStruct = {0};

	/** Configure LSE Drive Capability
	 */
	HAL_PWR_EnableBkUpAccess();
	/** Configure the main internal regulator output voltage
	 */
	__HAL_RCC_PWR_CLK_ENABLE();
	__HAL_PWR_VOLTAGESCALING_CONFIG(PWR_REGULATOR_VOLTAGE_SCALE3);
	/** Initializes the RCC Oscillators according to the specified parameters
	 * in the RCC_OscInitTypeDef structure.
	 */
	RCC_OscInitStruct.OscillatorType = RCC_OSCILLATORTYPE_HSE;
	RCC_OscInitStruct.HSEState = RCC_HSE_BYPASS;
	RCC_OscInitStruct.PLL.PLLState = RCC_PLL_ON;
	RCC_OscInitStruct.PLL.PLLSource = RCC_PLLSOURCE_HSE;
	RCC_OscInitStruct.PLL.PLLM = 4;
	RCC_OscInitStruct.PLL.PLLN = 96;
	RCC_OscInitStruct.PLL.PLLP = RCC_PLLP_DIV2;
	RCC_OscInitStruct.PLL.PLLQ = 4;
	RCC_OscInitStruct.PLL.PLLR = 2;
	if (HAL_RCC_OscConfig(&RCC_OscInitStruct) != HAL_OK)
	{
		Error_Handler();
	}
	/** Activate the Over-Drive mode
	 */
	if (HAL_PWREx_EnableOverDrive() != HAL_OK)
	{
		Error_Handler();
	}
	/** Initializes the CPU, AHB and APB buses clocks
	 */
	RCC_ClkInitStruct.ClockType = RCC_CLOCKTYPE_HCLK|RCC_CLOCKTYPE_SYSCLK
			|RCC_CLOCKTYPE_PCLK1|RCC_CLOCKTYPE_PCLK2;
	RCC_ClkInitStruct.SYSCLKSource = RCC_SYSCLKSOURCE_PLLCLK;
	RCC_ClkInitStruct.AHBCLKDivider = RCC_SYSCLK_DIV1;
	RCC_ClkInitStruct.APB1CLKDivider = RCC_HCLK_DIV2;
	RCC_ClkInitStruct.APB2CLKDivider = RCC_HCLK_DIV1;

	if (HAL_RCC_ClockConfig(&RCC_ClkInitStruct, FLASH_LATENCY_3) != HAL_OK)
	{
		Error_Handler();
	}
	PeriphClkInitStruct.PeriphClockSelection = RCC_PERIPHCLK_USART3|RCC_PERIPHCLK_CLK48;
	PeriphClkInitStruct.Usart3ClockSelection = RCC_USART3CLKSOURCE_PCLK1;
	PeriphClkInitStruct.Clk48ClockSelection = RCC_CLK48SOURCE_PLL;
	if (HAL_RCCEx_PeriphCLKConfig(&PeriphClkInitStruct) != HAL_OK)
	{
		Error_Handler();
	}
}

/* USER CODE BEGIN 4 */

void HAL_UART_RxCpltCallback(UART_HandleTypeDef *huart){
	if(huart->Instance == USART3){

		//INIT COMMAND
		if(strncmp(sUserMessage, sInitCommand,4) == 0){
			iMachineStatus = 0;
			iHomingStatus = 0;
			HAL_TIM_Base_Start_IT(&htim6);
		}

		//MODE SELECTION [SNGL/SERL]
		else if(strncmp(sUserMessage, sSingle_mode, 4) == 0){
			iMode = 0;
			HAL_GPIO_TogglePin(LD1_GPIO_Port, LD1_Pin);
		}

		else if(strncmp(sUserMessage, sSerial_mode, 4) == 0){
			iMode = 1;
			HAL_GPIO_TogglePin(LD2_GPIO_Port, LD2_Pin);
		}

		//LEG SELECTION [RGHT/LEFT]
		else if(strncmp(sUserMessage, sLeft, 4) == 0){
			iSelected_leg = 0;
			HAL_TIM_Base_Start_IT(&htim11);
		}

		else if(strncmp(sUserMessage, sRight, 4) == 0){
			iSelected_leg = 1;
			HAL_TIM_Base_Start_IT(&htim11);
		}

		//SPEED SELECTION [FAST/SLOW]
		else if(strncmp(sUserMessage, sFast, 4) == 0){
			iVelocity = 0x946F;
			fnSetVelocity(iVelocity);
		}

		else if(strncmp(sUserMessage, sSlow, 4) == 0){
			iVelocity = 0x4A37;
			fnSetVelocity(iVelocity);
		}

		//SINGLE POSITION [P]
		else if(sUserMessage[3] == 'P'){

			if(iMode == 0){
				iPosition = (uint32_t)(atoi(sUserMessage));
				iSingleMachineStatus = 10;
				HAL_TIM_Base_Start_IT(&htim7);
				//fnSingleMotionAction();
				//fnMoveAbsolute(iPosition);

			}
		}

		//START SERIAL [STSE]
		else if(strncmp(sUserMessage, sSerialStart, 4) == 0){

			if(iMode == 1 && iSelected_leg != 100 && iSerialReps != 0 && iSerialRange != 0){
				iSerialCounter = 0;
				iSerialMachineStatus = 10;
				HAL_TIM_Base_Start_IT(&htim10);
			}

		}

		//SERIAL - REPETITIONS [N]
		else if(sUserMessage[3] == 'N'){
			if(iMode == 1){
				iSerialReps = (uint32_t)(atoi(sUserMessage));
			}
		}

		//SERIAL - RANGE [R]
		else if(sUserMessage[3] == 'R'){
			if(iMode == 1){
				iSerialRange = (uint32_t)(atoi(sUserMessage));
				iPosition = iSerialRange;
			}
		}

		//GENERAL STOP COMMAND [HALT]
		else if(strncmp(sUserMessage, sGeneralStop, 4) == 0){

			//QUICK STOP
			TxHeader.StdId = 0x60A;
			TxHeader.DLC = 8;
			TxData[0] = 0x22;
			TxData[1] = 0x40;
			TxData[2] = 0x60;
			TxData[3] = 0x00;
			TxData[4] = 0x02;
			TxData[5] = 0x00;
			TxData[6] = 0x00;
			TxData[7] = 0x00;

			if(HAL_CAN_AddTxMessage(&hcan1, &TxHeader, TxData, &TxMailbox) != HAL_OK){
				fnLEDsErrorState();
				Error_Handler();
			}
			else{
				//DISBALE VOLTAGE
				TxHeader.StdId = 0x60A;
				TxHeader.DLC = 8;
				TxData[0] = 0x22;
				TxData[1] = 0x40;
				TxData[2] = 0x60;
				TxData[3] = 0x00;
				TxData[4] = 0x00;
				TxData[5] = 0x00;
				TxData[6] = 0x00;
				TxData[7] = 0x00;

				if(HAL_CAN_AddTxMessage(&hcan1, &TxHeader, TxData, &TxMailbox) != HAL_OK){
					fnLEDsErrorState();
					Error_Handler();
				}
				else {
					HAL_GPIO_WritePin(LD3_GPIO_Port, LD3_Pin, GPIO_PIN_SET);
					HAL_UART_Transmit(&huart3, sStopState, iLengthOut, 100);
				}
			}
		}

		//RESET COMMAND [RSET]
		else if(strncmp(sUserMessage, sReset, 4) == 0){
			iMachineStatus = 10;
			iHomingStatus = 100;

			HAL_TIM_Base_Stop_IT(&htim7);
			HAL_TIM_Base_Stop_IT(&htim10);
			HAL_GPIO_WritePin(LD3_GPIO_Port, LD3_Pin, GPIO_PIN_RESET);
		}

		//CONTINUE COMMAND [CONT]
		else if(strncmp(sUserMessage, sContinue, 4) == 0){
			iMachineStatus=10;

			HAL_TIM_Base_Start_IT(&htim14);
		}

	}
	else{
		HAL_UART_Transmit(&huart3, sErrorMessage, strlen(sErrorMessage), 100);
	}
	HAL_UART_Receive_IT(&huart3, sUserMessage, 4);
	/*

	case 70://POSTION CHECK
		TxHeader.StdId = 0x60A;
		TxHeader.DLC = 8;
		TxData[0] = 0x40;
		TxData[1] = 0x64;
		TxData[2] = 0x60;
		TxData[3] = 0x00;
		TxData[4] = 0x00;
		TxData[5] = 0x00;
		TxData[6] = 0x00;
		TxData[7] = 0x00;

		if(HAL_CAN_AddTxMessage(&hcan1, &TxHeader, TxData, &TxMailbox) != HAL_OK){
			Error_Handler();
		}
		else{
			iMachineStatus = 80;
			HAL_UART_Transmit(&huart3, "C070", 4, 100);
		}
		break;
	case 200://FAULT RESET
		TxHeader.StdId = 0x60A;
		TxHeader.DLC = 8;
		TxData[0] = 0x22;
		TxData[1] = 0x40;
		TxData[2] = 0x60;
		TxData[3] = 0x00;
		TxData[4] = 0x80;
		TxData[5] = 0x00;
		TxData[6] = 0x00;
		TxData[7] = 0x00;

		if(HAL_CAN_AddTxMessage(&hcan1, &TxHeader, TxData, &TxMailbox) != HAL_OK){
			Error_Handler();
		}
		else{
			iMachineStatus = 10;
			HAL_UART_Transmit(&huart3, "C200", 4, 100);
		}
		break;
	}
	 */
}

void HAL_CAN_RxFifo0MsgPendingCallback(CAN_HandleTypeDef *hcan){

	HAL_CAN_GetRxMessage(hcan, CAN_RX_FIFO0, &RxHeader, RxData);
}

/* USER CODE END 4 */

void Error_Handler(void)
{
	__disable_irq();
	while (1)
	{
	}
}

/************************ (C) COPYRIGHT STMicroelectronics *****END OF FILE****/
